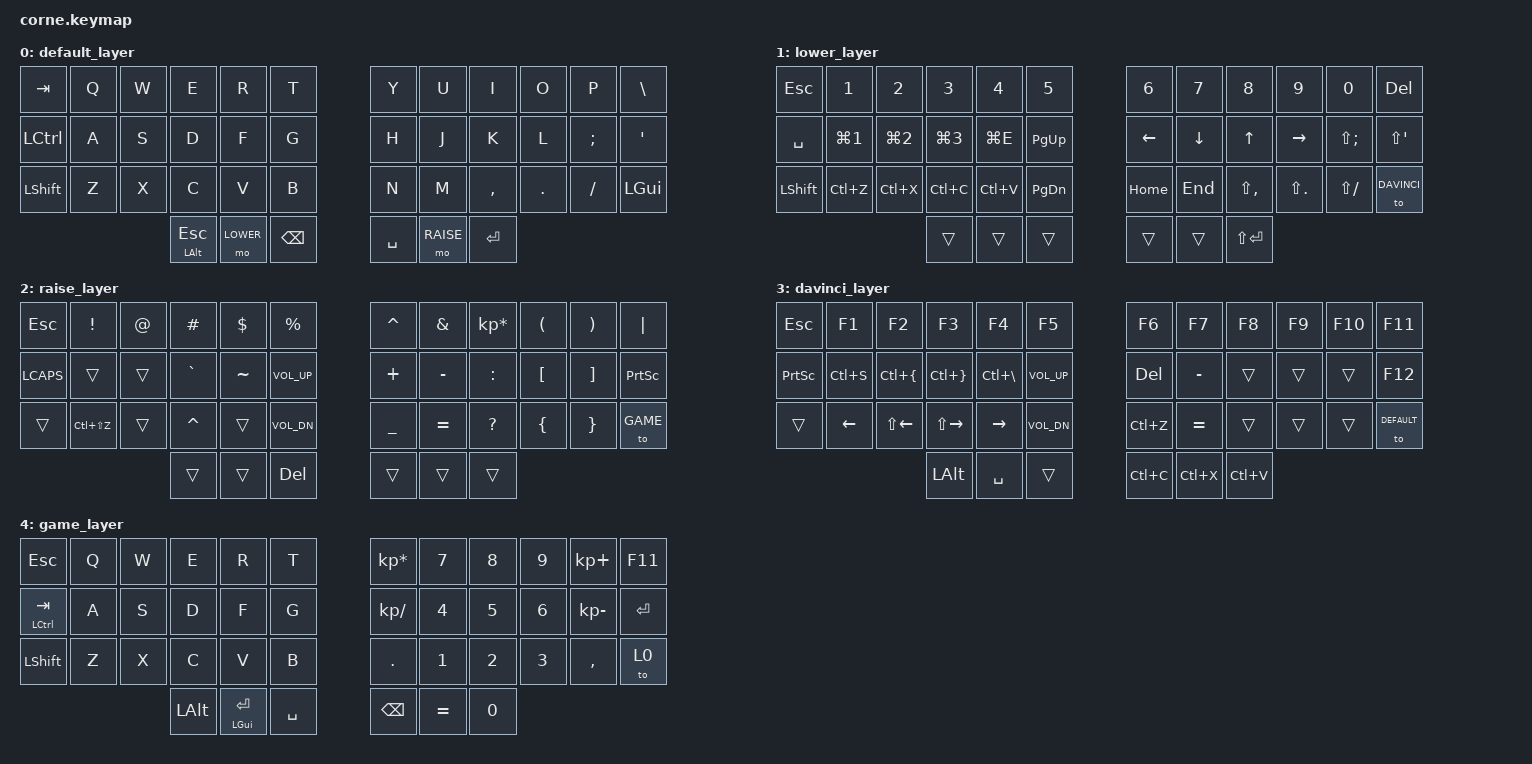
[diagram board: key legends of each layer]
/*
 * Copyright (c) 2020 The ZMK Contributors
 *
 * SPDX-License-Identifier: MIT
 */

#include <behaviors.dtsi>
#include <dt-bindings/zmk/keys.h>

#define DEFAULT 0
#define LOWER   1
#define RAISE   2
#define DAVINCI 3
#define GAME    4

/ {
    keymap {
        compatible = "zmk,keymap";

        default_layer {
            // ------------------------------------------------------------------------------------
            // |  TAB |  Q  |  W  |  E      |  R  |  T  |   |  Y  |  U   |  I  |  O  |  P  |  \   |
            // | CTRL |  A  |  S  |  D      |  F  |  G  |   |  H  |  J   |  K  |  L  |  ;  |  '   |
            // | SHFT |  Z  |  X  |  C      |  V  |  B  |   |  N  |  M   |  ,  |  .  |  /  | GUI  |
            //                    | ESC/ALT | LWR | BKSP|   | SPC | RSE  | ENT |

            bindings = <
&kp TAB    &kp Q  &kp W  &kp E         &kp R      &kp T            &kp Y      &kp U      &kp I      &kp O    &kp P     &kp BSLH
&kp LCTRL  &kp A  &kp S  &kp D         &kp F      &kp G            &kp H      &kp J      &kp K      &kp L    &kp SEMI  &kp SQT
&kp LSHFT  &kp Z  &kp X  &kp C         &kp V      &kp B            &kp N      &kp M      &kp COMMA  &kp DOT  &kp FSLH  &kp LGUI
                         &mt LALT ESC  &mo LOWER  &kp BACKSPACE    &kp SPACE  &mo RAISE  &kp RET
            >;
        };

        lower_layer {
            // -----------------------------------------------------------------------------------------------------------
            // |  ESC |  1    |  2    |  3    |  4    |  5   |   |  6     |  7   |  8       |  9     |  0      | DEL     |
            // | SPACE| LG(1) | LG(2) | LG(3) | LG(E) | PGUP |   | LFT    | DWN  |  UP      | RGT    | LS(SEMI)| LS(SQT) |
            // | SHFT | LC(Z) | LC(X) | LC(C) | LC(V) | PGDN |   | HOME   | END  | LS(COMMA)| LS(DOT)| LS(FSLH)| DAVINCI |
            //                        | trans | trans | trans|   | LG(SPC)| trans|  LS(RET) |

            bindings = <
&kp ESC    &kp N1      &kp N2      &kp N3      &kp N4     &kp N5       &kp N6    &kp N7    &kp N8         &kp N9       &kp N0        &kp DEL
&kp SPACE  &kp LG(N1)  &kp LG(N2)  &kp LG(N3)  &kp LG(E)  &kp PG_UP    &kp LEFT  &kp DOWN  &kp UP         &kp RIGHT    &kp LS(SEMI)  &kp LS(SQT)
&kp LSHFT  &kp LC(Z)   &kp LC(X)   &kp LC(C)   &kp LC(V)  &kp PG_DN    &kp HOME  &kp END   &kp LS(COMMA)  &kp LS(DOT)  &kp LS(FSLH)  &to DAVINCI
                                   &trans      &trans     &trans       &trans    &trans    &kp LS(RET)
            >;
        };

        raise_layer {
            // ---------------------------------------------------------------------------------------------
            // |  ESC  |  !      |  @  |  #  |  $    |   %    |    |  ^  |  &  |  *  |  (  |  )  | |       |
            // |  LCAPS|         |     |  `  |  ~    | VOL_UP |    |  +  |  -  |  :  |  [  |  ]  | PS      |
            // |       |LC(LS(Z))|     |  ^  |       | VOL_DN |    |  _  |  =  |  ?  |  {  |  }  | TO GAME |
            //                         |     |       | LC(SPC)|    |     |     |     |

            bindings = <
&kp ESC    &kp EXCL       &kp AT  &kp HASH   &kp DLLR   &kp PRCNT       &kp CARET  &kp AMPS   &kp KP_MULTIPLY  &kp LPAR  &kp RPAR  &kp PIPE
&kp LCAPS  &trans         &trans  &kp GRAVE  &kp TILDE  &kp C_VOL_UP    &kp PLUS   &kp MINUS  &kp COLON        &kp LBKT  &kp RBKT  &kp PSCRN
&trans     &kp LC(LS(Z))  &trans  &kp CARET  &trans     &kp C_VOL_DN    &kp UNDER  &kp EQUAL  &kp QMARK        &kp LBRC  &kp RBRC  &to GAME
                                  &trans     &trans     &kp DEL         &trans     &trans     &trans
            >;
        };

        davinci_layer {
            // ---------------------------------------------------------------------------------------------------------
            // |  ESC   |  F1 |  F2      | F3        |  F4     |   F5   |    | F6   |  F7  |  F8  |  F9  | F10  | F11  | 
            // |  PS    |LC(S)| LC {     | LC }      | LC \    | VOL_UP |    | DEL  |      |      |      |      | F12  |
            // |        |LEFT | LS(LEFT) | LS(RIGHT) | RIGHT   | VOL_DN |    |LC(Z) |      |      |      |      | TO(1)|
            //                           | LALT      | SPACE   |        |    |LC(C) |LC(X) |LC(V) | 

            bindings = <
&kp ESC    &kp F1     &kp F2        &kp F3         &kp F4        &kp F5          &kp F6     &kp F7     &kp F8     &kp F9  &kp F10  &kp F11
&kp PSCRN  &kp LC(S)  &kp LC(LBRC)  &kp LC(RBRC)   &kp LC(BSLH)  &kp C_VOL_UP    &kp DEL    &kp MINUS  &trans     &trans  &trans   &kp F12
&trans     &kp LEFT   &kp LS(LEFT)  &kp LS(RIGHT)  &kp RIGHT     &kp C_VOL_DN    &kp LC(Z)  &kp EQUAL  &trans     &trans  &trans   &to DEFAULT
                                    &kp LALT       &kp SPACE     &trans          &kp LC(C)  &kp LC(X)  &kp LC(V)
            >;
        };

        game_layer {
            // -------------------------------------------------------------------------------------------------
            // |  ESC     |  Q  |  W  |  E      |  R    |  T  |   |  *  |  7   |  8  |  9  |  +  |  F11        |
            // | CTRL/TAB |  A  |  S  |  D      |  F    |  G  |   |  /  |  4   |  5  |  6  |  -  |  ENT        |
            // | SHFT     |  Z  |  X  |  C      |  V    |  B  |   |  .  |  1   |  2  |  3  |  ,  |  TO DEFAULT |
            //                        |  ALT    |  LGUI | SPC |   | BCPC|  =   |  0  |

            bindings = <
&kp ESC        &kp Q  &kp W  &kp E     &kp R               &kp T        &kp KP_MULTIPLY  &kp N7     &kp N8  &kp N9  &kp KP_PLUS   &kp F11
&mt LCTRL TAB  &kp A  &kp S  &kp D     &kp F               &kp G        &kp KP_DIVIDE    &kp N4     &kp N5  &kp N6  &kp KP_MINUS  &kp RET
&kp LSHFT      &kp Z  &kp X  &kp C     &kp V               &kp B        &kp DOT          &kp N1     &kp N2  &kp N3  &kp COMMA     &to 0
                             &kp LALT  &mt LEFT_GUI ENTER  &kp SPACE    &kp BSPC         &kp EQUAL  &kp N0
            >;
        };
    };
};
